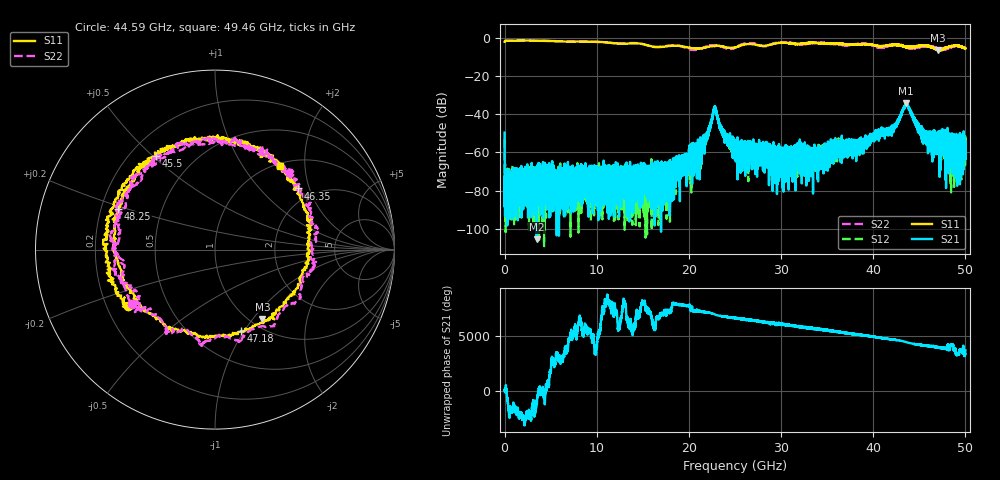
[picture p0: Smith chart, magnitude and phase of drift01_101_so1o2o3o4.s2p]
!Created with skrf (http://scikit-rf.org).
# Hz S RI R 50.0
!freq ReS11 ImS11 ReS21 ImS21 ReS12 ImS12 ReS22 ImS22
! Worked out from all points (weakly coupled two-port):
!   10001 points, 300 kHz to 50 GHz, reference 50 ohm
!   highest |S21| = -34.35 dB at 43.55 GHz (marker M1); lowest = -105.5 dB at 3.485 GHz (marker M2)
!   lowest |S11| = -6.6 dB at 47.05 GHz (marker M3), VSWR 2.76, Z = 56.6 - j55.9 ohm
!   |S11| at or under -10 dB: nowhere
!   |S22| runs from -6.5 to -1.4 dB; largest |S21 - S12| = 0.0046
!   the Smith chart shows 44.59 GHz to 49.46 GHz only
!   S11 on the Smith chart (normalised r, x): 44.59 GHz: 0.29, -0.27; 45.5 GHz: 0.30, +0.51; 46.35 GHz: 1.66, +1.69; 47.18 GHz: 0.83, -0.97; 48.25 GHz: 0.27, +0.19; 49.46 GHz: 1.04, +1.50
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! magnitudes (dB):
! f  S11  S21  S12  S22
! 300 kHz  -2.1  -49.7  -53.1  -2.1
! 260.3 MHz  -1.4  -70.8  -76.5  -1.4
! 3.485 GHz  -1.5  -105.5  -76.8  -1.5
! 8.335 GHz  -1.9  -70.5  -69.4  -1.8
! 16.67 GHz  -4.8  -71.7  -72.2  -4.8
! 18.01 GHz  -4.2  -73.7  -71.9  -4.0
! 21.27 GHz  -5.5  -64.4  -62.3  -5.7
! 22.8 GHz  -4.3  -35.7  -36.1  -4.0
! 23.79 GHz  -4.7  -48.9  -50.0  -5.0
! 25 GHz  -5.0  -57.0  -55.5  -5.1
! 29.47 GHz  -2.9  -63.1  -60.8  -2.6
! 33.34 GHz  -2.6  -61.3  -62.5  -2.7
! 41.67 GHz  -3.9  -50.0  -48.6  -4.3
! 43.55 GHz  -5.0  -34.4  -35.1  -4.8
! 44.59 GHz  -4.8  -43.2  -43.1  -5.2
! 45.5 GHz  -4.2  -49.5  -51.7  -4.4
! 46.35 GHz  -4.8  -50.6  -53.3  -4.8
! 47.05 GHz  -6.6  -52.5  -53.3  -5.6
! 47.18 GHz  -6.4  -54.2  -53.5  -6.1
! 48.25 GHz  -4.7  -59.6  -54.1  -4.8
! 49.46 GHz  -4.5  -58.3  -59.7  -4.5
! 50 GHz  -5.5  -56.5  -57.4  -5.4
